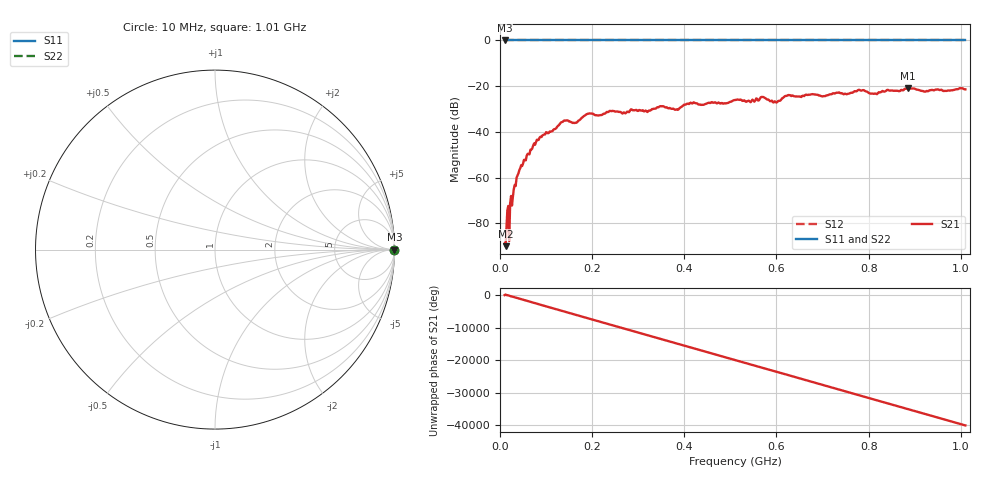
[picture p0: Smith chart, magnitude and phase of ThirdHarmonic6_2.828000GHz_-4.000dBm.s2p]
! 8/17/2025 7:31:21 AM
! C:\ANRITSUVNA\TEMP\TEMP.S2P
! CHANNEL.1
! TR.MEASUREMENT
! RAW.DATA
! RF.CORRECTION.OFF
! AVERAGING.OFF
! IF.BANDWIDTH: 5KHZ
! SWEEPTYPE:  FREQ.SWEEP(Linear)
! Reference Plane Port Info
! PORT:  PORT1  PORT2
! DISTANCE:  0  m  0  m
! TIME:  0  s  0  s
! PHASE.OFFSET:  0  deg.  0  deg.
! LOSS:  0  dB  0  dB
! REF.LOSS:  0  dB  0  dB
! REF.FREQ:  0  Hz  0  Hz
! Power Info
! POWER:  -20  dBm  -20  dBm
! EFF.POWER:  -20  dBm  -20  dBm
! SOURCE.ATTEN:  0  dB  0  dB
! TEST.ATTEN:  0  dB  0  dB
# GHZ S RI R 50.0
! FREQ.GHZ  S11RE  S11IM  S21RE  S21IM  S12RE  S12IM  S22RE  S22IM
!; PortSelection: Port_12
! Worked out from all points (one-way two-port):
!   501 points, 10 MHz to 1.01 GHz, reference 50 ohm
!   highest |S21| = -20.84 dB at 886 MHz (marker M1); lowest = -90.1 dB at 12 MHz (marker M2)
!   lowest |S11| = 0.0 dB at 10 MHz (marker M3)
!   |S11| at or under -10 dB: nowhere
!   |S22| runs from 0.0 to 0.0 dB; largest |S21 - S12| = 1.1
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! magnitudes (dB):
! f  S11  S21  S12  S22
! 10 MHz  0.0  -89.0  0.0  0.0
! 12 MHz  0.0  -90.1  0.0  0.0
! 24 MHz  0.0  -68.1  0.0  0.0
! 34 MHz  0.0  -63.7  0.0  0.0
! 42 MHz  0.0  -56.8  0.0  0.0
! 76 MHz  0.0  -45.7  0.0  0.0
! 136 MHz  0.0  -35.6  0.0  0.0
! 162 MHz  0.0  -36.2  0.0  0.0
! 178 MHz  0.0  -33.8  0.0  0.0
! 194 MHz  0.0  -31.9  0.0  0.0
! 322 MHz  0.0  -30.9  0.0  0.0
! 344 MHz  0.0  -29.3  0.0  0.0
! 384 MHz  0.0  -30.1  0.0  0.0
! 410 MHz  0.0  -27.8  0.0  0.0
! 510 MHz  0.0  -26.1  0.0  0.0
! 570 MHz  0.0  -24.7  0.0  0.0
! 598 MHz  0.0  -26.9  0.0  0.0
! 624 MHz  0.0  -24.1  0.0  0.0
! 678 MHz  0.0  -23.5  0.0  0.0
! 844 MHz  0.0  -21.9  0.0  0.0
! 886 MHz  0.0  -20.8  0.0  0.0
! 1.01 GHz  0.0  -21.4  0.0  0.0
